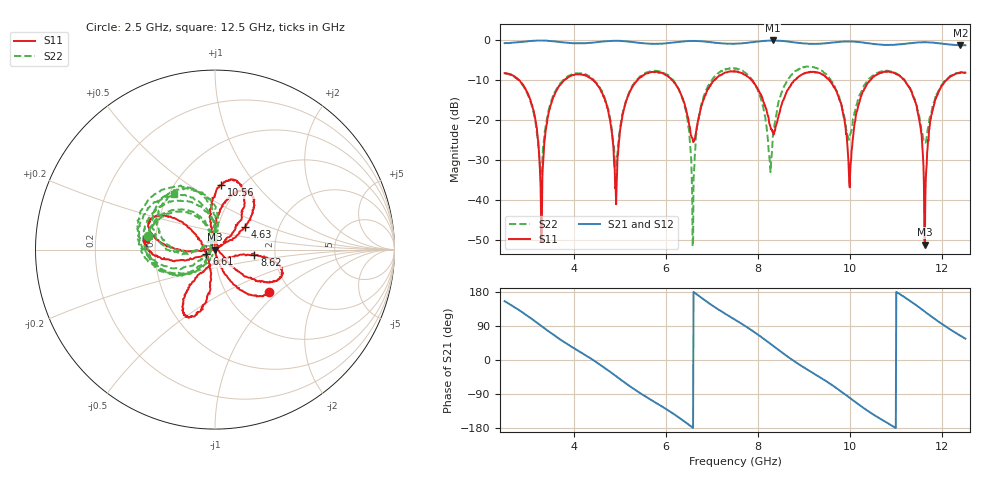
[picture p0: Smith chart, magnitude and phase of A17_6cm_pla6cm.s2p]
!Keysight Technologies N9950B: A.12.38
!Date: Monday, 17 April 2023 21:04:02
!Timezone: (UTC-06:00) Central Time (US & Canada)
!Model: N9950B
!Serial: MY61131330
!GPS Latitude:
!GPS Longitude:
!GPS TimeStamp: 0001-01-01 00:00:00Z
!GPS Seconds Since Last Read: 0
!CHECKSUM:1416520892
!Correction: S11(ON U)S21(ON U)S12(ON U)S22(ON U)
!S2P File: Measurements:S11,S21,S12,S22:
# Hz S DB R 50
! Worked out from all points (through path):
!   1001 points, 2.5 GHz to 12.5 GHz, reference 50 ohm
!   highest |S21| = -0.13 dB at 8.32 GHz (marker M1); lowest = -1.3 dB at 12.39 GHz (marker M2)
!   group delay of S21, straight-line fit = 228 ps
!   lowest |S11| = -51.2 dB at 11.62 GHz (marker M3), VSWR 1.01, Z = 49.7 - j0.11 ohm
!   |S11| at or under -10 dB: 2.808 GHz to 3.801 GHz (993.4 MHz wide, 30.1 % of centre); 4.422 GHz to 5.386 GHz (963.6 MHz wide, 19.7 % of centre); 7.856 GHz to 8.8 GHz (944.2 MHz wide, 11.3 % of centre)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
!   |S22| runs from -51.6 to -6.6 dB; largest |S21 - S12| = 0.0074
!   S11 on the Smith chart (normalised r, x): 2.5 GHz: 1.56, -0.88; 4.63 GHz: 1.35, +0.36; 6.61 GHz: 0.91, -0.05; 8.62 GHz: 1.56, -0.10; 10.56 GHz: 0.82, +0.68; 12.5 GHz: 0.44, +0.06
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2.5e9  -8.30 -38.4  -0.80 155.2  -0.81 155.3  -8.33 168.9
3.06e9  -15.04 -64.9  -0.27 111.0  -0.27 111.0  -15.29 113.3
3.3e9  -50.53 48.6  -0.14 89.6  -0.13 89.6  -32.60 -164.8
3.54e9  -14.94 85.9  -0.31 68.2  -0.32 68.1  -14.36 -136.3
4.17e9  -8.64 57.1  -0.83 18.9  -0.82 19.0  -8.42 161.5
4.63e9  -13.53 36.6  -0.40 -17.2  -0.37 -17.4  -13.32 116.6
4.92e9  -41.09 117.6  -0.23 -42.9  -0.21 -43.0  -30.47 170.6
5.84e9  -8.04 154.0  -0.94 -117.0  -0.94 -117.1  -7.82 152.7
6.61e9  -25.32 -151.7  -0.26 178.8  -0.25 178.7  -32.88 -108.5
6.84e9  -14.16 -98.0  -0.38 158.0  -0.39 158.2  -13.65 -140.2
7.5e9  -7.92 -113.6  -0.92 106.4  -0.93 106.3  -7.18 151.4
8.32e9  -23.14 -73.9  -0.13 38.0  -0.16 37.9  -24.08 -151.2
8.62e9  -13.10 -8.0  -0.39 11.1  -0.37 10.9  -10.51 -162.2
9.17e9  -8.04 -20.5  -0.95 -32.7  -0.96 -32.8  -6.74 142.0
9.99e9  -36.87 35.5  -0.38 -99.8  -0.39 -99.9  -24.12 148.2
1.056e10  -8.81 84.3  -1.04 -148.2  -1.04 -148.1  -8.40 156.5
1.084e10  -7.89 73.1  -1.22 -168.7  -1.23 -168.2  -7.87 130.6
1.14e10  -14.91 48.1  -0.70 147.5  -0.70 147.5  -14.82 84.9
1.162e10  -51.15 -156.6  -0.59 127.8  -0.59 127.5  -25.65 133.5
1.185e10  -14.88 -160.0  -0.75 107.0  -0.74 107.2  -14.17 -177.8
1.239e10  -8.09 175.4  -1.34 64.5  -1.28 64.3  -8.22 136.4
1.25e10  -8.17 171.4  -1.33 56.3  -1.33 56.2  -8.23 126.4
